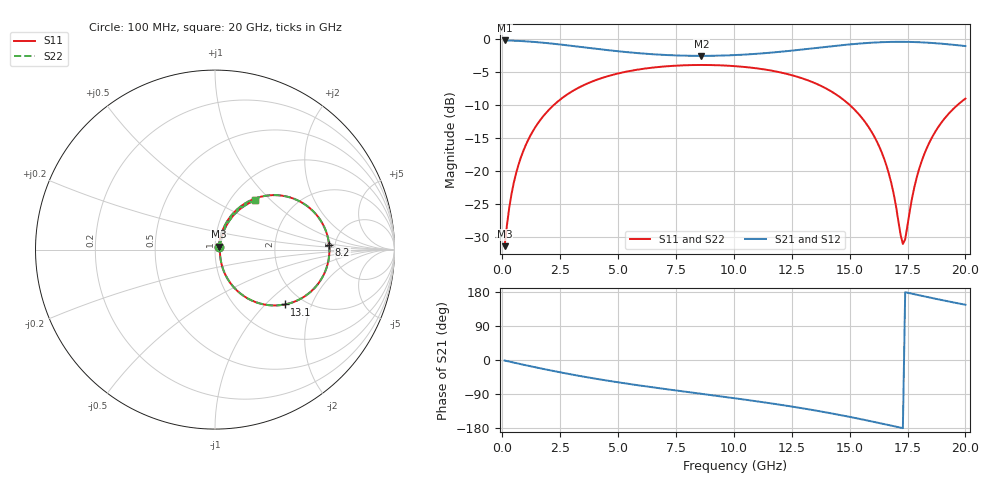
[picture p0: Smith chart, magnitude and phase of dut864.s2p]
! Touchstone file exported from HFSS 2026.1.0
!  File:  C:/ffzhzh/LocalFiles/Ansys_Project_Files/temp_train_TSV_RDL_864_1783271458_5512.aedt
!  Generated:  01:20:57 AM Jul  6, 2026
!  Design:  TSV_RDL
!  Project:  temp_train_TSV_RDL_864_1783271458_5512
! Variables:
!  h_bsmrdl = 3um
!  h_ox = 20um
!  h_rdl = 5um
!  h_sub = 83.71um
!  h_tmrdl = 4.91um
!  h_tsv = 83.71um
!  h_via = 3um
!  l_bsmrdl = 395.47um
!  l_sub = 3409.54um
!  l_tmrdl = 433.11um
!  m_sub = 200um
!  pitch = 56.93um
!  r_tsv = 8.66um
!  s_tmrdl = 10um
!  w_bsmrdl = 10.02um
!  w_sub = 500um
!  w_tmrdl = 20.21um
!  x_tsv_center1 = 443.215um
!  x_tsv_center2 = 848.705um
!  x_tsv_center3 = 1302.025um
!  x_tsv_center4 = 1707.515um
!  x_tsv_center5 = 2160.835um
!  x_tsv_center6 = 2566.325um
# GHz S MA R 50.000000
! Terminal data exported
! Port[1] = TM_RDL1_1_T1
! Port[2] = TM_RDL5_1_T1
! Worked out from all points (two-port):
!   200 points, 100 MHz to 20 GHz, reference 50 ohm
!   highest |S21| = -0.19 dB at 100 MHz (marker M1); lowest = -2.5 dB at 8.6 GHz (marker M2)
!   |S21| within 3 dB of the highest: start of sweep to end of sweep
!   lowest |S11| = -31.4 dB at 100 MHz (marker M3), VSWR 1.06, Z = 52.2 + j1.63 ohm
!   |S11| at or under -10 dB: start of sweep to 2.223 GHz; 15.01 GHz to 19.66 GHz (4.65 GHz wide, 26.8 % of centre)
!   |S22| runs from -31.4 to -3.9 dB; largest |S21 - S12| = 5.9e-14
!   S11 on the Smith chart (normalised r, x): 100 MHz: 1.04, +0.03; 8.2 GHz: 4.46, +0.41; 13.1 GHz: 1.62, -1.31; 20 GHz: 1.29, +0.81
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0.1  0.02681 35.7  0.9785 -1.4  0.9785 -1.4  0.02681 35.7
! Gamma 0 0 0 0
! Port Impedance 50 0 50 0
0.3  0.05241 61.0  0.9766 -4.2  0.9766 -4.2  0.05241 61.0
0.5  0.08172 67.1  0.974 -6.9  0.974 -6.9  0.08172 67.1
1.1  0.1694 66.8  0.9616 -15.0  0.9616 -15.0  0.1694 66.8
2.1  0.3016 57.4  0.9281 -27.7  0.9281 -27.7  0.3016 57.4
3.5  0.4464 42.9  0.8689 -43.8  0.8689 -43.8  0.4464 42.9
6.8  0.6166 13.4  0.7631 -74.6  0.7631 -74.6  0.6166 13.4
8.2  0.6363 2.5  0.7481 -86.0  0.7481 -86.0  0.6363 2.5
8.6  0.6373 -0.6  0.7473 -89.2  0.7473 -89.2  0.6373 -0.6
10.1  0.6234 -12.3  0.7584 -101.4  0.7584 -101.4  0.6234 -12.3
13.1  0.4944 -38.2  0.8406 -128.8  0.8406 -128.8  0.4944 -38.2
13.4  0.472 -41.1  0.852 -131.9  0.852 -131.9  0.472 -41.1
14.6  0.3615 -53.1  0.8985 -145.3  0.8985 -145.3  0.3615 -53.1
15.5  0.2565 -62.0  0.9291 -156.3  0.9291 -156.3  0.2565 -61.9
16.2  0.1639 -67.2  0.9462 -165.2  0.9462 -165.2  0.1639 -67.2
16.7  0.09458 -66.4  0.9534 -171.8  0.9534 -171.8  0.09463 -66.2
17.3  0.02787 -6.7  0.9555 -179.9  0.9555 -179.9  0.02807 -6.6
17.4  0.03024 20.9  0.9551 178.8  0.9551 178.8  0.03044 20.8
17.9  0.08937 62.9  0.9502 172.2  0.9502 172.2  0.08944 62.8
18.3  0.1445 64.8  0.9429 166.9  0.9429 166.9  0.1445 64.7
19  0.2373 60.4  0.9238 157.9  0.9238 157.9  0.2374 60.3
20  0.3538 50.8  0.8871 145.8  0.8871 145.8  0.3538 50.8
